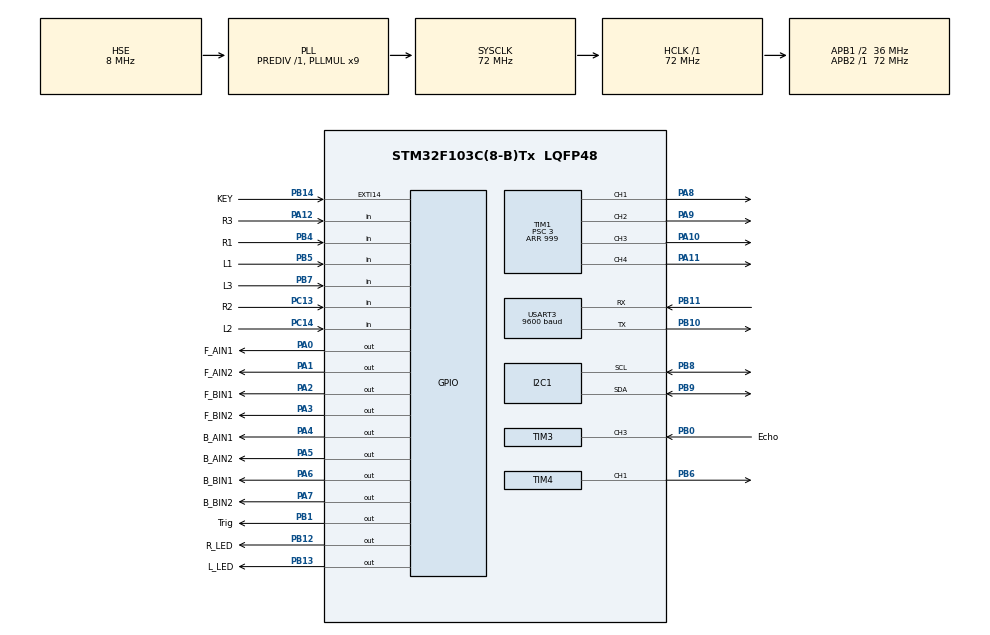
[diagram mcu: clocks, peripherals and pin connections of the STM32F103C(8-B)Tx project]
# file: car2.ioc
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Mcu.Family=STM32F1
Mcu.Name=STM32F103C(8-B)Tx
Mcu.Package=LQFP48
NVIC.EXTI15_10_IRQn=true\:0\:0\:false\:false\:true\:true\:true\:true
NVIC.PriorityGroup=NVIC_PRIORITYGROUP_4
NVIC.TIM2_IRQn=true\:0\:0\:false\:false\:true\:true\:true\:true
NVIC.TIM3_IRQn=true\:0\:0\:false\:false\:true\:true\:true\:true
NVIC.USART3_IRQn=true\:0\:0\:false\:false\:true\:true\:true\:true
PA0-WKUP.GPIO_Label=F_AIN1
PA0-WKUP.Signal=GPIO_Output
PA1.GPIO_Label=F_AIN2
PA1.Signal=GPIO_Output
PA10.Signal=S_TIM1_CH3
PA11.Signal=S_TIM1_CH4
PA12.GPIO_Label=R3
PA12.Signal=GPIO_Input
PA2.GPIO_Label=F_BIN1
PA2.Signal=GPIO_Output
PA3.GPIO_Label=F_BIN2
PA3.Signal=GPIO_Output
PA4.GPIO_Label=B_AIN1
PA4.Signal=GPIO_Output
PA5.GPIO_Label=B_AIN2
PA5.Signal=GPIO_Output
PA6.GPIO_Label=B_BIN1
PA6.Signal=GPIO_Output
PA7.GPIO_Label=B_BIN2
PA7.Signal=GPIO_Output
PA8.Signal=S_TIM1_CH1
PA9.Signal=S_TIM1_CH2
PB0.GPIO_Label=Echo
PB0.Signal=S_TIM3_CH3
PB1.GPIO_Label=Trig
PB1.GPIO_PuPd=GPIO_PULLDOWN
PB1.Signal=GPIO_Output
PB10.Mode=Asynchronous
PB10.Signal=USART3_TX
PB11.Mode=Asynchronous
PB11.Signal=USART3_RX
PB12.GPIO_Label=R_LED
PB12.Signal=GPIO_Output
PB13.GPIO_Label=L_LED
PB13.Signal=GPIO_Output
PB14.GPIO_Label=KEY
PB14.GPIO_ModeDefaultEXTI=GPIO_MODE_IT_FALLING
PB14.GPIO_PuPd=GPIO_PULLUP
PB14.Signal=GPXTI14
PB4.GPIO_Label=R1
PB4.Signal=GPIO_Input
PB5.GPIO_Label=L1
PB5.Signal=GPIO_Input
PB6.Signal=S_TIM4_CH1
PB7.GPIO_Label=L3
PB7.Signal=GPIO_Input
PB8.Mode=I2C
PB8.Signal=I2C1_SCL
PB9.Mode=I2C
PB9.Signal=I2C1_SDA
PC13-TAMPER-RTC.GPIO_Label=R2
PC13-TAMPER-RTC.Signal=GPIO_Input
PC14-OSC32_IN.GPIO_Label=L2
PC14-OSC32_IN.Signal=GPIO_Input
PD0-OSC_IN.Mode=HSE-External-Oscillator
PD0-OSC_IN.Signal=RCC_OSC_IN
PD1-OSC_OUT.Mode=HSE-External-Oscillator
PD1-OSC_OUT.Signal=RCC_OSC_OUT
ProjectManager.HeapSize=0x200
ProjectManager.StackSize=0x400
ProjectManager.TargetToolchain=MDK-ARM V5.32
RCC.AHBFreq_Value=72000000
RCC.APB1CLKDivider=RCC_HCLK_DIV2
RCC.APB1Freq_Value=36000000
RCC.APB1TimFreq_Value=72000000
RCC.APB2Freq_Value=72000000
RCC.APB2TimFreq_Value=72000000
RCC.HCLKFreq_Value=72000000
RCC.PLLMUL=RCC_PLL_MUL9
RCC.PLLSourceVirtual=RCC_PLLSOURCE_HSE
RCC.SYSCLKFreq_VALUE=72000000
RCC.SYSCLKSource=RCC_SYSCLKSOURCE_PLLCLK
RCC.USBFreq_Value=72000000
SH.S_TIM1_CH1.0=TIM1_CH1,PWM Generation1 CH1
SH.S_TIM1_CH2.0=TIM1_CH2,PWM Generation2 CH2
SH.S_TIM1_CH3.0=TIM1_CH3,PWM Generation3 CH3
SH.S_TIM1_CH4.0=TIM1_CH4,PWM Generation4 CH4
SH.S_TIM3_CH3.0=TIM3_CH3,Input_Capture3_from_TI3
SH.S_TIM4_CH1.0=TIM4_CH1,PWM Generation1 CH1
TIM1.Channel-PWM\ Generation1\ CH1=TIM_CHANNEL_1
TIM1.Channel-PWM\ Generation2\ CH2=TIM_CHANNEL_2
TIM1.Channel-PWM\ Generation3\ CH3=TIM_CHANNEL_3
TIM1.Channel-PWM\ Generation4\ CH4=TIM_CHANNEL_4
TIM1.OCPolarity_4=TIM_OCPOLARITY_HIGH
TIM1.Period=999
TIM1.Prescaler=3
TIM2.AutoReloadPreload=TIM_AUTORELOAD_PRELOAD_ENABLE
TIM2.Period=500-1
TIM2.Prescaler=719
TIM3.Channel-Input_Capture3_from_TI3=TIM_CHANNEL_3
TIM3.Prescaler=71
TIM4.Channel-PWM\ Generation1\ CH1=TIM_CHANNEL_1
TIM4.OCPolarity_1=TIM_OCPOLARITY_LOW
TIM4.Period=1000-1
TIM4.Prescaler=71
USART3.BaudRate=9600
USART3.Mode=MODE_TX_RX
USART3.VirtualMode=VM_ASYNC
VP_SYS_VS_ND.Mode=No_Debug
VP_TIM1_VS_ClockSourceINT.Mode=Internal
VP_TIM2_VS_ClockSourceINT.Mode=Internal
VP_TIM3_VS_ClockSourceINT.Mode=Internal
board=custom

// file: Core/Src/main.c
/* USER CODE BEGIN Header */
/**
  ******************************************************************************
  * @file           : main.c
  * @brief          : Main program body
  ******************************************************************************
  * @attention
  *
  * Copyright (c) 2023 STMicroelectronics.
  * All rights reserved.
  *
  * This software is licensed under terms that can be found in the LICENSE file
  * in the root directory of this software component.
  * If no LICENSE file comes with this software, it is provided AS-IS.
  *
  ******************************************************************************
  */
/* USER CODE END Header */
#include "main.h"
#include "i2c.h"
#include "tim.h"
#include "usart.h"
#include "gpio.h"

/* USER CODE BEGIN Includes */

#include "stdio.h"
#include "oled.h"
//#define KEY  HAL_GPIO_ReadPin(KEY_GPIO_Port,KEY_Pin)
/* USER CODE END Includes */

/* USER CODE BEGIN PTD */
float Kp =330,Ki = 0.05, Kd = 0;                      //pid弯道参数参数
float error = 0, P = 0, I = 0, D = 0, PID_value = 0;  //pid直道参数
float decide = 0;                                     //元素判断
float last_error = 0, previous_I = 0;             //误差值
int sensor[6] = {0, 0, 0, 0, 0,0};                      //6个传感器数值的数组
static int initial_speed = 430;                  //初始速度
int flag = 100 ;
int Key_flag = 0;
/* USER CODE END PTD */

/* USER CODE BEGIN PD */
int ABS(int a)
{
    a = a>0?a:(-a);
    return a;
}
void Give_Motor_PWM(int F_MotorL_PWM,int F_MotorR_PWM,int B_MotorL_PWM,int B_MotorR_PWM);//电机
void track_control(void);
void stop(void);//停车
int limit_speed(int v);//限速
void read_sensor(void);//读取红外传感器

int key = 0;
void HAL_GPIO_EXTI_Callback(uint16_t GPIO_Pin)
{
    key = 1;
}

int dis_flag = 0;
int pass_flag = 0;

int count=0;
void delay_us(uint32_t us)//主频72M
{
    uint32_t delay = (HAL_RCC_GetHCLKFreq() / 4000000 * us);
    while (delay--)
    {
        ;
    }
}

#define Trig_H  HAL_GPIO_WritePin(Trig_GPIO_Port,Trig_Pin,GPIO_PIN_SET)
#define Trig_L HAL_GPIO_WritePin(Trig_GPIO_Port,Trig_Pin,GPIO_PIN_RESET)
int distant=100;      //测量距离
uint32_t measure_Buf[3] = {0};   //存放定时器计数值的数组
uint8_t  measure_Cnt = 0;    //状态标志位
uint32_t high_time;   //超声波模块返回的高电平时间

void SR04_GetData(void)
{
    switch (measure_Cnt) {
    case 0:
        Trig_L;
        delay_us(2);
        Trig_H;
        delay_us(10);
        Trig_L;
        measure_Cnt++;
        __HAL_TIM_SET_CAPTUREPOLARITY(&htim3, TIM_CHANNEL_3, TIM_INPUTCHANNELPOLARITY_RISING);
        HAL_TIM_IC_Start_IT(&htim3, TIM_CHANNEL_3);	//启动输入捕获
        break;
    case 3:
        high_time = measure_Buf[1]- measure_Buf[0];    //高电平时间
        distant=(high_time*0.034)/2;  //单位cm
        if(distant<18)
        {
            dis_flag = 1;
        } else
        {
            dis_flag  =0;
        }
        measure_Cnt = 0;  //清空标志位
        TIM3->CNT=0;     //清空计时器计数
        break;
    }
}

void HAL_TIM_IC_CaptureCallback(TIM_HandleTypeDef *htim)//
{

    if(TIM3 == htim->Instance)// 判断触发的中断的定时器为TIM3
    {
        switch(measure_Cnt) {
        case 1:
            measure_Buf[0] = HAL_TIM_ReadCapturedValue(&htim3,TIM_CHANNEL_3);//获取当前的捕获值.
            __HAL_TIM_SET_CAPTUREPOLARITY(&htim3,TIM_CHANNEL_3,TIM_ICPOLARITY_FALLING);  //设置为下降沿捕获
            measure_Cnt++;
            break;
        case 2:
            measure_Buf[1] = HAL_TIM_ReadCapturedValue(&htim3,TIM_CHANNEL_3);//获取当前的捕获值.
            HAL_TIM_IC_Stop_IT(&htim3,TIM_CHANNEL_3); //停止捕获
            measure_Cnt++;
        }
    }
}

#define  L1       262//低调　do 的频率
#define  L2       296//低调　re 的频率
#define  L3       330//低调　mi 的频率
#define  L4       349//低调　fa 的频率
#define  L5       392//低调　sol 的频率
#define  L6       440//低调　la 的频率
#define  L7       494//低调　si 的频率

#define  M1       523//中调　do 的频率
#define  M2       587//中调　re 的频率
#define  M3       659//中调　mi 的频率
#define  M4       699//中调　fa 的频率
#define  M5       784//中调　sol的频率
#define  M6       880//中调　la 的频率
#define  M7       988//中调　si 的频率

#define  H1       1048//高调　do 的频率
#define  H2       1176//高调　re 的频率
#define  H3       1320//高调　mi 的频率
#define  H4       1480//高调　fa 的频率
#define  H5       1640//高调　sol的频率
#define  H6       1760//高调　la 的频率
#define  H7       1976//高调　si 的频率
#define  Z0       0

int16_t solitary_brave[]=
{
    M6,50,M7,50,H1,50,H2,50,M7,50,H1,50,H1,100,Z0,10,	//爱你孤身走暗巷
    H1,50,M7,50,H1,50,H2,50,M7,50,H1,50,H1,100,Z0,10, 	//爱你不跪的模样
    H1,50,H2,50,H3,50,H2,50,H3,50,H2,50,H3,100,H3,50,
    H3,50,H2,50,H3,100,H5,100,H3,100,Z0,10 //爱你对峙过绝望不肯哭一场

};

int music_count = 0;
int music_i = 0;
int music_flag = 0;
int music_start_flag = 0;

int fputc(int c,FILE *stream)
{
    HAL_UART_Transmit(&huart3,(unsigned char *)&c,1,1000);
    return 1;
}

uint8_t RX_date;//接收变量
void HAL_UART_RxCpltCallback(UART_HandleTypeDef *huart)
{

    if (huart->Instance == USART3)
    {
        HAL_UART_Receive_IT(&huart3,&RX_date,1);

        music_flag = 0;

    }

}

void read_data()
{
    HAL_Delay(10);
    sensor[0]=HAL_GPIO_ReadPin(L3_GPIO_Port,L3_Pin);
    sensor[1]=HAL_GPIO_ReadPin(L2_GPIO_Port,L2_Pin);
    sensor[2]=HAL_GPIO_ReadPin(L1_GPIO_Port,L1_Pin);
    sensor[3]=HAL_GPIO_ReadPin(R1_GPIO_Port,R1_Pin);
    sensor[4]=HAL_GPIO_ReadPin(R2_GPIO_Port,R2_Pin);
    sensor[5]=HAL_GPIO_ReadPin(R3_GPIO_Port,R3_Pin);

}

void avoid()
{
    stop();
    Give_Motor_PWM(-200,-200,-200,-200);
    HAL_Delay(400);
    Give_Motor_PWM(400,-400,400,-400);
    HAL_Delay(300);
    Give_Motor_PWM(480,480,480,480);
    HAL_Delay(420);
    Give_Motor_PWM(-450,450,-450,450);
    HAL_Delay(320);
    Give_Motor_PWM(500,500,500,500);
    HAL_Delay(350);
    Give_Motor_PWM(-600,600,-600,600);
    HAL_Delay(300);
    Give_Motor_PWM(440,440,440,440);
    HAL_Delay(330);
    Give_Motor_PWM(600,-600,600,-600);
    HAL_Delay(300);

}
/* USER CODE END PD */

void SystemClock_Config(void);

int main(void)
{

    /* MCU Configuration--------------------------------------------------------*/

    /* Reset of all peripherals, Initializes the Flash interface and the Systick. */
    HAL_Init();

    /* Configure the system clock */
    SystemClock_Config();

    /* Initialize all configured peripherals */
    MX_GPIO_Init();
    MX_TIM1_Init();
    MX_I2C1_Init();
    MX_USART3_UART_Init();
    MX_TIM3_Init();
    MX_TIM2_Init();
    MX_TIM4_Init();
    /* USER CODE BEGIN 2 */
    HAL_TIM_PWM_Start(&htim1,TIM_CHANNEL_1);
    HAL_TIM_PWM_Start(&htim1,TIM_CHANNEL_2);
    HAL_TIM_PWM_Start(&htim1,TIM_CHANNEL_3);
    HAL_TIM_PWM_Start(&htim1,TIM_CHANNEL_4);

    HAL_TIM_Base_Start_IT(&htim3);
    HAL_TIM_Base_Start_IT(&htim2);

    HAL_TIM_IC_Start_IT(&htim3,TIM_CHANNEL_3);

    HAL_UART_Receive_IT(&huart3,&RX_date,1);
    HAL_Delay(2000);

//	OLED_Init();

    char now_flag = 's';
    music_flag = 0;
    /* USER CODE END 2 */

    /* Infinite loop */
    while (1)
    {

        /* USER CODE BEGIN 3 */

        if(Key_flag)
        {
            stop();
        }
        else
        {
            switch(RX_date)
            {
            case 's'://停车
                if(music_start_flag)
                {
                    music_flag = 1;
                }
                stop();
                now_flag = 's';
                break;
            case 'f'://前进
                Give_Motor_PWM(300,300,300,300);
                break;
            case 'l'://左转
                Give_Motor_PWM(-300,300,-300,300);
                break;
            case 'r'://右转
                Give_Motor_PWM(300,-300,300,-300);
                break;
            case 'b'://后退
                Give_Motor_PWM(-300,-300,-300,-300);
                break;
            case '2'://循迹
                now_flag = '2';
                if(music_start_flag)
                {
                    music_flag = 1;
                }
                if(dis_flag==1)
                {
                    avoid();//避障
                }
                else
                {
                    track_control();//循迹
                }
                break;
            case 'm':    //开始播放音乐
                music_flag =1;
                music_start_flag = 1;
                HAL_TIM_PWM_Start(&htim4,TIM_CHANNEL_1);
                music_count = 0;
                music_i = 0;
                __HAL_TIM_SET_AUTORELOAD(&htim4,1000000/solitary_brave[music_i*2]-1);
                __HAL_TIM_SET_COMPARE(&htim4,TIM_CHANNEL_1,500000/solitary_brave[music_i*2]);
                RX_date = now_flag;
                break;
            case '4'://暂停音乐
                music_flag = 0;
                music_start_flag = 0;
                HAL_TIM_PWM_Stop(&htim4,TIM_CHANNEL_1);
                RX_date = now_flag;
                break;
            case '6'://继续播放音乐
                music_flag = 1;
                music_start_flag = 1;
                HAL_TIM_PWM_Start(&htim4,TIM_CHANNEL_1);
                RX_date = now_flag;
                break;
            case '3'://开灯
                HAL_GPIO_WritePin(L_LED_GPIO_Port, L_LED_Pin, GPIO_PIN_SET);
                HAL_GPIO_WritePin(R_LED_GPIO_Port, R_LED_Pin, GPIO_PIN_SET);
                break;
            case '5'://关灯
                HAL_GPIO_WritePin(L_LED_GPIO_Port, L_LED_Pin, GPIO_PIN_RESET);
                HAL_GPIO_WritePin(R_LED_GPIO_Port, R_LED_Pin, GPIO_PIN_RESET);
                break;
            }

        }

    }

    /* USER CODE END 3 */
}

void SystemClock_Config(void)
{
    RCC_OscInitTypeDef RCC_OscInitStruct = {0};
    RCC_ClkInitTypeDef RCC_ClkInitStruct = {0};

    /** Initializes the RCC Oscillators according to the specified parameters
    * in the RCC_OscInitTypeDef structure.
    */
    RCC_OscInitStruct.OscillatorType = RCC_OSCILLATORTYPE_HSE;
    RCC_OscInitStruct.HSEState = RCC_HSE_ON;
    RCC_OscInitStruct.HSEPredivValue = RCC_HSE_PREDIV_DIV1;
    RCC_OscInitStruct.HSIState = RCC_HSI_ON;
    RCC_OscInitStruct.PLL.PLLState = RCC_PLL_ON;
    RCC_OscInitStruct.PLL.PLLSource = RCC_PLLSOURCE_HSE;
    RCC_OscInitStruct.PLL.PLLMUL = RCC_PLL_MUL9;
    if (HAL_RCC_OscConfig(&RCC_OscInitStruct) != HAL_OK)
    {
        Error_Handler();
    }

    /** Initializes the CPU, AHB and APB buses clocks
    */
    RCC_ClkInitStruct.ClockType = RCC_CLOCKTYPE_HCLK|RCC_CLOCKTYPE_SYSCLK
                                  |RCC_CLOCKTYPE_PCLK1|RCC_CLOCKTYPE_PCLK2;
    RCC_ClkInitStruct.SYSCLKSource = RCC_SYSCLKSOURCE_PLLCLK;
    RCC_ClkInitStruct.AHBCLKDivider = RCC_SYSCLK_DIV1;
    RCC_ClkInitStruct.APB1CLKDivider = RCC_HCLK_DIV2;
    RCC_ClkInitStruct.APB2CLKDivider = RCC_HCLK_DIV1;

    if (HAL_RCC_ClockConfig(&RCC_ClkInitStruct, FLASH_LATENCY_2) != HAL_OK)
    {
        Error_Handler();
    }
}

/* USER CODE BEGIN 4 */
int limit_speed(int v)
{
    if(v>999)
    {
        v=950;
    }
    if(v<-950)
    {
        v=-950;
    }

    return v;

}

void stop()
{
    HAL_GPIO_WritePin(F_AIN1_GPIO_Port, F_AIN1_Pin, GPIO_PIN_RESET);
    HAL_GPIO_WritePin(F_AIN2_GPIO_Port, F_AIN2_Pin, GPIO_PIN_RESET);
    HAL_GPIO_WritePin(F_BIN1_GPIO_Port, F_BIN1_Pin, GPIO_PIN_RESET);
    HAL_GPIO_WritePin(F_BIN2_GPIO_Port, F_BIN2_Pin, GPIO_PIN_RESET);
    HAL_GPIO_WritePin(B_AIN1_GPIO_Port, B_AIN1_Pin, GPIO_PIN_RESET);
    HAL_GPIO_WritePin(B_AIN2_GPIO_Port, B_AIN2_Pin, GPIO_PIN_RESET);
    HAL_GPIO_WritePin(B_BIN1_GPIO_Port, B_BIN1_Pin, GPIO_PIN_RESET);
    HAL_GPIO_WritePin(B_BIN2_GPIO_Port, B_BIN2_Pin, GPIO_PIN_RESET);
}

void Give_Motor_PWM(int F_MotorL_PWM,int F_MotorR_PWM,int B_MotorL_PWM,int B_MotorR_PWM)
{
    F_MotorL_PWM=limit_speed(F_MotorL_PWM);
    F_MotorR_PWM=limit_speed(F_MotorR_PWM);
    B_MotorL_PWM=limit_speed(B_MotorL_PWM);
    B_MotorR_PWM=limit_speed(B_MotorR_PWM);
    if (F_MotorL_PWM>0) //左前电机正转
    {
        HAL_GPIO_WritePin(F_AIN1_GPIO_Port, F_AIN1_Pin, GPIO_PIN_SET);
        HAL_GPIO_WritePin(F_AIN2_GPIO_Port, F_AIN2_Pin, GPIO_PIN_RESET);
    }
    else              //左前电机反转
    {
        HAL_GPIO_WritePin(F_AIN1_GPIO_Port, F_AIN1_Pin, GPIO_PIN_RESET);
        HAL_GPIO_WritePin(F_AIN2_GPIO_Port, F_AIN2_Pin, GPIO_PIN_SET);
    }

    if (F_MotorR_PWM>0) //右前电机正转
    {
        HAL_GPIO_WritePin(F_BIN1_GPIO_Port, F_BIN1_Pin, GPIO_PIN_SET);
        HAL_GPIO_WritePin(F_BIN2_GPIO_Port, F_BIN2_Pin, GPIO_PIN_RESET);
    }
    else              //右前电机反转
    {
        HAL_GPIO_WritePin(F_BIN1_GPIO_Port, F_BIN1_Pin, GPIO_PIN_RESET);
        HAL_GPIO_WritePin(F_BIN2_GPIO_Port, F_BIN2_Pin, GPIO_PIN_SET);
    }
    if (B_MotorL_PWM>0) //左后电机正转
    {
        HAL_GPIO_WritePin(B_AIN1_GPIO_Port, B_AIN1_Pin, GPIO_PIN_SET);
        HAL_GPIO_WritePin(B_AIN2_GPIO_Port, B_AIN2_Pin, GPIO_PIN_RESET);
    }
    else              //左后电机反转
    {
        HAL_GPIO_WritePin(B_AIN1_GPIO_Port, B_AIN1_Pin, GPIO_PIN_RESET);
        HAL_GPIO_WritePin(B_AIN2_GPIO_Port, B_AIN2_Pin, GPIO_PIN_SET);
    }

    if (B_MotorR_PWM>0) //右后电机正转
    {
        HAL_GPIO_WritePin(B_BIN1_GPIO_Port, B_BIN1_Pin, GPIO_PIN_SET);
        HAL_GPIO_WritePin(B_BIN2_GPIO_Port, B_BIN2_Pin, GPIO_PIN_RESET);
    }
    else              //右后电机反转
    {
        HAL_GPIO_WritePin(B_BIN1_GPIO_Port, B_BIN1_Pin, GPIO_PIN_RESET);
        HAL_GPIO_WritePin(B_BIN2_GPIO_Port, B_BIN2_Pin, GPIO_PIN_SET);
    }
    __HAL_TIM_SET_COMPARE(&htim1,TIM_CHANNEL_1, ABS(F_MotorL_PWM));
    __HAL_TIM_SET_COMPARE(&htim1,TIM_CHANNEL_2, ABS(F_MotorR_PWM));
    __HAL_TIM_SET_COMPARE(&htim1,TIM_CHANNEL_3, ABS(B_MotorL_PWM));
    __HAL_TIM_SET_COMPARE(&htim1,TIM_CHANNEL_4, ABS(B_MotorR_PWM));

}

float get_error()
{
    int p,q;
    sensor[0]=HAL_GPIO_ReadPin(L3_GPIO_Port,L3_Pin);
    sensor[1]=HAL_GPIO_ReadPin(L2_GPIO_Port,L2_Pin);
    sensor[2]=HAL_GPIO_ReadPin(L1_GPIO_Port,L1_Pin);
    sensor[3]=HAL_GPIO_ReadPin(R1_GPIO_Port,R1_Pin);
    sensor[4]=HAL_GPIO_ReadPin(R2_GPIO_Port,R2_Pin);
    sensor[5]=HAL_GPIO_ReadPin(R3_GPIO_Port,R3_Pin);

    p=-4*sensor[0]+(-2.5)*sensor[1]+(-1.5)*sensor[2]+1.5*sensor[3]+2.5*sensor[4]+4*sensor[5];//总值
    q = sensor[0]+sensor[1]+sensor[2]+sensor[3]+sensor[4]+sensor[5];//识别到黑线的传感器的数量
    if(q!=0)
    {
        p=p/q;
        return p;
    }
    else
    {
        return 0;
    }

}

void track_control(void)
{
    int L_speed ;
    int R_speed ;

    if(sensor[0]==1&&sensor[2]==1&&sensor[3]==0&&sensor[4]==0&&sensor[5]==0)//过左直角
    {
        stop();
        HAL_GPIO_WritePin(L_LED_GPIO_Port, L_LED_Pin, GPIO_PIN_SET);
        HAL_GPIO_WritePin(R_LED_GPIO_Port, R_LED_Pin, GPIO_PIN_SET);
        HAL_Delay(150);
        HAL_GPIO_WritePin(L_LED_GPIO_Port, L_LED_Pin, GPIO_PIN_RESET);
        HAL_GPIO_WritePin(R_LED_GPIO_Port, R_LED_Pin, GPIO_PIN_RESET);
        L_speed = -550;
        R_speed = -550;
        Give_Motor_PWM(L_speed,R_speed,L_speed,R_speed);
        HAL_Delay(35);

        L_speed =-650;
        R_speed = 650;
        Give_Motor_PWM(L_speed,R_speed,L_speed,R_speed);

        while(!(sensor[2]==1||sensor[3]==1||sensor[4]==1||sensor[5]==1))
        {

            read_data();
            HAL_GPIO_WritePin(L_LED_GPIO_Port, L_LED_Pin, GPIO_PIN_SET);
        }
        HAL_GPIO_WritePin(L_LED_GPIO_Port, L_LED_Pin, GPIO_PIN_RESET);
    }

    else if(sensor[0]==0&&sensor[1]==0&&sensor[2]==0&&sensor[3]==1&&sensor[5]==1)
    {

        stop();
        HAL_GPIO_WritePin(L_LED_GPIO_Port, L_LED_Pin, GPIO_PIN_SET);
        HAL_GPIO_WritePin(R_LED_GPIO_Port, R_LED_Pin, GPIO_PIN_SET);
        HAL_Delay(150);
        HAL_GPIO_WritePin(L_LED_GPIO_Port, L_LED_Pin, GPIO_PIN_RESET);
        HAL_GPIO_WritePin(R_LED_GPIO_Port, R_LED_Pin, GPIO_PIN_RESET);
        L_speed = -550;
        R_speed = -550;
        Give_Motor_PWM(L_speed,R_speed,L_speed,R_speed);
        HAL_Delay(35);

        L_speed = 650;
        R_speed =-650;
        Give_Motor_PWM(L_speed,R_speed,L_speed,R_speed);

        while(!(sensor[0]==1||sensor[1]==1||sensor[2]==1||sensor[3]==1))
        {
            read_data();
            HAL_GPIO_WritePin(R_LED_GPIO_Port, R_LED_Pin, GPIO_PIN_SET);
        }

        HAL_GPIO_WritePin(R_LED_GPIO_Port, R_LED_Pin, GPIO_PIN_RESET);

    }
    else if(sensor[0]==1&&sensor[1]==0&&sensor[2]==0&&sensor[3]==0&&sensor[4]==0&&sensor[5]==0)
    {

        stop();
        HAL_GPIO_WritePin(L_LED_GPIO_Port, L_LED_Pin, GPIO_PIN_SET);
        HAL_GPIO_WritePin(R_LED_GPIO_Port, R_LED_Pin, GPIO_PIN_SET);
        HAL_Delay(150);
        HAL_GPIO_WritePin(L_LED_GPIO_Port, L_LED_Pin, GPIO_PIN_RESET);
        HAL_GPIO_WritePin(R_LED_GPIO_Port, R_LED_Pin, GPIO_PIN_RESET);
        L_speed = -500;
        R_speed = -500;
        Give_Motor_PWM(L_speed,R_speed,L_speed,R_speed);
        HAL_Delay(50);

        L_speed = -700;
        R_speed = 700;
        Give_Motor_PWM(L_speed,R_speed,L_speed,R_speed);

        while(!(sensor[1]==1||sensor[2]==1||sensor[3]==1||sensor[4]==1||sensor[5]==1))
        {
            read_data();
            HAL_GPIO_WritePin(L_LED_GPIO_Port, L_LED_Pin, GPIO_PIN_SET);
        }
        HAL_GPIO_WritePin(L_LED_GPIO_Port, L_LED_Pin, GPIO_PIN_RESET);

    }

    else if(sensor[0]==0&&sensor[1]==0&&sensor[2]==0&&sensor[3]==0&&sensor[4]==0&&sensor[5]==1)
    {
        stop();
        HAL_GPIO_WritePin(L_LED_GPIO_Port, L_LED_Pin, GPIO_PIN_SET);
        HAL_GPIO_WritePin(R_LED_GPIO_Port, R_LED_Pin, GPIO_PIN_SET);
        HAL_Delay(150);
        HAL_GPIO_WritePin(L_LED_GPIO_Port, L_LED_Pin, GPIO_PIN_RESET);
        HAL_GPIO_WritePin(R_LED_GPIO_Port, R_LED_Pin, GPIO_PIN_RESET);
        L_speed = -500;
        R_speed = -500;
        Give_Motor_PWM(L_speed,R_speed,L_speed,R_speed);
        HAL_Delay(50);
        L_speed = 700;
        R_speed = -700;
        Give_Motor_PWM(L_speed,R_speed,L_speed,R_speed);

        while(!(sensor[0]==1||sensor[1]==1||sensor[2]==1||sensor[3]==1||sensor[4]==1))
        {
            read_data();
            HAL_GPIO_WritePin(R_LED_GPIO_Port, R_LED_Pin, GPIO_PIN_SET);
        }

    }

    if(L_speed - R_speed >400)
    {
        HAL_GPIO_WritePin(R_LED_GPIO_Port, R_LED_Pin, GPIO_PIN_SET);
    } else if(R_speed - L_speed >400)
    {
        HAL_GPIO_WritePin(L_LED_GPIO_Port, L_LED_Pin, GPIO_PIN_SET);

    } else {
        HAL_GPIO_WritePin(L_LED_GPIO_Port, L_LED_Pin, GPIO_PIN_RESET);
        HAL_GPIO_WritePin(R_LED_GPIO_Port, R_LED_Pin, GPIO_PIN_RESET);
    }

    L_speed = initial_speed + PID_value;
    R_speed = initial_speed - PID_value;

    Give_Motor_PWM(L_speed,R_speed,L_speed,R_speed);

}

void HAL_TIM_PeriodElapsedCallback(TIM_HandleTypeDef *htim)
{
    if(htim->Instance == TIM2)
    {
        //超声波模块控制
        count++;
        if(count ==10)
        {
            count = 0;
            SR04_GetData();

        }

        //循迹误差计算
        error =get_error();

        P = error;
        I = I + error;
        D = error - last_error;

        PID_value = (Kp * P) + (Ki * I) + (Kd * D);

        last_error = error;

        //蜂鸣器音乐控制
        if(music_flag == 1)
        {
            music_count ++;

            if(music_count == solitary_brave[music_i*2+1])
            {
                music_count=0;
                music_i++;

                if(music_i == 30)
                {
                    music_i = 0;

                }
                __HAL_TIM_SET_AUTORELOAD(&htim4,1000000/solitary_brave[music_i*2]-1);
                __HAL_TIM_SET_COMPARE(&htim4,TIM_CHANNEL_1,500000/solitary_brave[music_i*2]);

            }
        }

    }

    if(key)//按键消抖
    {
        key =0 ;
        if(HAL_GPIO_ReadPin(KEY_GPIO_Port,KEY_Pin)==0)
        {
            Key_flag=!Key_flag;
            if(Key_flag)
            {

                HAL_GPIO_WritePin(L_LED_GPIO_Port, L_LED_Pin, GPIO_PIN_SET);
                HAL_GPIO_WritePin(R_LED_GPIO_Port, R_LED_Pin, GPIO_PIN_SET);
            }
            else
            {
                HAL_GPIO_WritePin(L_LED_GPIO_Port, L_LED_Pin, GPIO_PIN_RESET);
                HAL_GPIO_WritePin(R_LED_GPIO_Port,R_LED_Pin, GPIO_PIN_RESET);
            }
        }

    }

}

/* USER CODE END 0 */

/* USER CODE END 4 */

void Error_Handler(void)
{
    __disable_irq();
    while (1)
    {
    }
}
